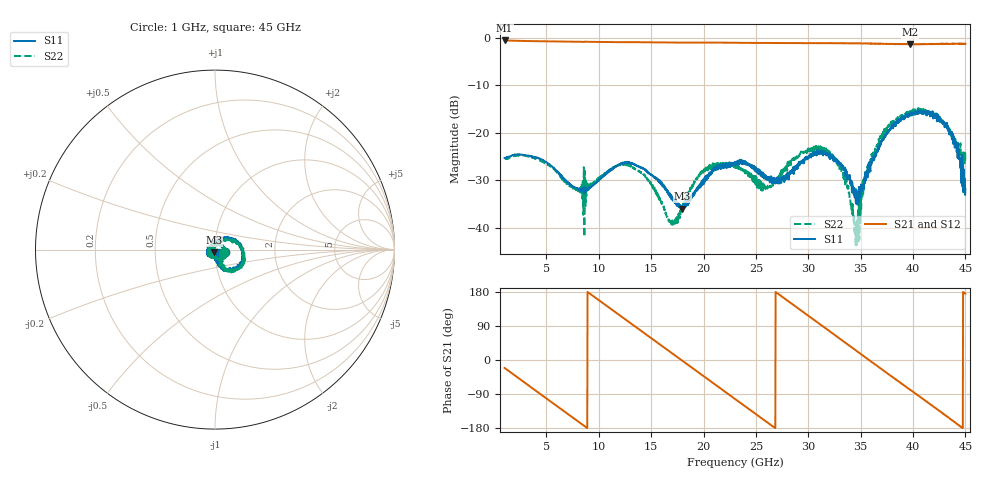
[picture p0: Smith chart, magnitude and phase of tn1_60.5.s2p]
!Keysight Technologies,N5247B,MY61255062,A.19.80.06
!Date: Thursday, May 21, 2026 12:01:56
!Correction: S11(Cdelta 2-Port  )
!S21(Cdelta 2-Port  )
!S12(Cdelta 2-Port  )
!S22(Cdelta 2-Port  )
!S2P File: Measurements: S11, S21, S12, S22:
# Hz S  dB  R 50
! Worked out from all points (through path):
!   1601 points, 1 GHz to 45 GHz, reference 50 ohm
!   highest |S21| = -0.49 dB at 1 GHz (marker M1); lowest = -1.3 dB at 39.72 GHz (marker M2)
!   group delay of S21, straight-line fit = 55.8 ps
!   lowest |S11| = -36.0 dB at 17.97 GHz (marker M3), VSWR 1.03, Z = 49.3 - j1.38 ohm
!   |S11| at or under -10 dB: start of sweep to end of sweep
!   |S22| runs from -43.9 to -14.8 dB; largest |S21 - S12| = 0.018
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1e9  -25.31 -12.5  -0.49 -21.0  -0.49 -21.0  -25.41 -12.2
2.9525e9  -24.71 -51.6  -0.60 -60.4  -0.60 -60.4  -24.85 -50.8
4.6025e9  -25.72 -83.4  -0.66 -93.7  -0.66 -93.7  -26.15 -81.3
8.3425e9  -31.89 -95.8  -0.77 -169.0  -0.77 -169.0  -32.74 -97.9
1.02125e10  -29.64 -82.8  -0.81 153.6  -0.81 153.6  -29.25 -85.1
1.2385e10  -26.48 -105.5  -0.85 110.2  -0.86 110.1  -26.54 -109.8
1.398e10  -27.24 -125.8  -0.86 78.1  -0.86 78.1  -28.22 -132.5
1.5685e10  -29.89 -139.7  -0.90 43.8  -0.90 43.8  -33.52 -146.8
1.68675e10  -33.03 -138.0  -0.93 20.2  -0.93 20.2  -38.69 -109.1
1.79675e10  -36.02 -117.5  -0.94 -1.7  -0.94 -1.7  -36.47 -73.0
2.0745e10  -28.13 -96.4  -0.93 -57.5  -0.94 -57.5  -27.61 -93.1
2.3e10  -26.20 -125.5  -0.97 -102.9  -0.97 -102.9  -26.93 -132.4
2.6685e10  -30.66 120.6  -1.02 -176.8  -1.02 -176.8  -30.67 78.0
2.8445e10  -28.24 40.5  -1.05 147.9  -1.06 148.0  -26.06 17.0
3.03425e10  -24.87 -20.0  -1.05 110.0  -1.07 109.9  -23.18 -28.5
3.29e10  -26.61 -88.2  -1.08 58.5  -1.05 58.5  -27.03 -81.4
3.45775e10  -31.92 -173.0  -1.09 24.6  -1.08 24.5  -39.23 129.2
3.587e10  -26.17 94.7  -1.11 -1.7  -1.14 -1.5  -26.14 59.7
3.7685e10  -19.41 36.7  -1.22 -37.9  -1.21 -38.1  -18.28 25.1
3.972e10  -16.08 -6.1  -1.33 -78.3  -1.32 -78.5  -15.71 -11.8
4.313e10  -18.37 -61.0  -1.21 -147.0  -1.23 -146.8  -18.45 -60.7
4.5e10  -31.83 -31.6  -1.21 175.0  -1.17 174.9  -26.11 -37.3
